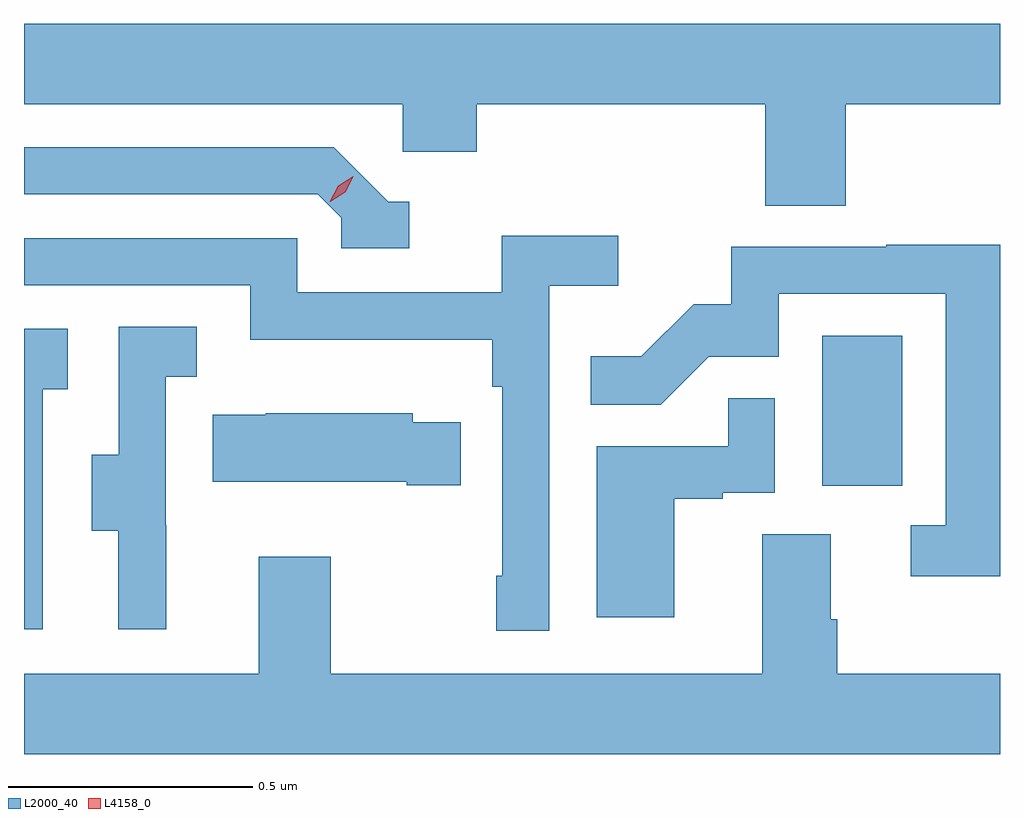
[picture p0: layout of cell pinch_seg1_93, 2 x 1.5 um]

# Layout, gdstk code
import gdstk
lib = gdstk.Library(unit=1e-6, precision=1e-09)
def R(c, l, rs):  # rectangles x0, y0, x1, y1
    for r in rs: c.add(gdstk.rectangle(r[:2], r[2:], *l))
def P(c, l, *ps):  # polygons
    for p in ps: c.add(gdstk.Polygon(p, *l))
L2000_40 = (2000, 40)
L4158_0 = (4158, 0)

pinch_seg1_93 = lib.new_cell('pinch_seg1_93')
R(pinch_seg1_93, L2000_40, [(1050.92,561.606,1051.084,561.913)])
P(pinch_seg1_93, L2000_40, [(1050.968,562.388),(1051.284,562.388),(1051.284,562.552),(1049.284,562.552),(1049.284,562.388),(1050.06,562.388),(1050.06,562.29),(1050.212,562.29),(1050.212,562.388),(1050.803,562.388),(1050.803,562.18),(1050.968,562.18)],
  [(1050.073,562.188),(1050.03,562.188),(1049.919,562.299),(1049.284,562.299),(1049.284,562.203),(1049.886,562.203),(1049.934,562.155),(1049.934,562.092),(1050.073,562.092)],
  [(1050.36,562.016),(1050.502,562.016),(1050.502,562.118),(1050.263,562.118),(1050.263,562.002),(1049.844,562.002),(1049.844,562.113),(1049.284,562.113),(1049.284,562.017),(1049.748,562.017),(1049.748,561.905),(1050.244,561.905),(1050.244,561.809),(1050.264,561.809),(1050.264,561.421),(1050.252,561.421),(1050.252,561.309),(1050.36,561.309)],
  [(1051.284,562.1),(1051.051,562.1),(1051.051,562.095),(1050.733,562.095),(1050.733,561.978),(1050.656,561.978),(1050.549,561.871),(1050.445,561.871),(1050.445,561.772),(1050.589,561.772),(1050.687,561.87),(1050.831,561.87),(1050.831,561.999),(1051.173,561.999),(1051.173,561.525),(1051.101,561.525),(1051.101,561.42),(1051.284,561.42)],
  [(1049.576,561.525),(1049.574,561.525),(1049.574,561.829),(1049.638,561.829),(1049.638,561.932),(1049.478,561.932),(1049.478,561.669),(1049.423,561.669),(1049.423,561.514),(1049.477,561.514),(1049.477,561.312),(1049.576,561.312)],
  [(1049.322,561.803),(1049.374,561.803),(1049.374,561.927),(1049.284,561.927),(1049.284,561.312),(1049.322,561.312)],
  [(1050.616,561.579),(1050.716,561.579),(1050.716,561.591),(1050.822,561.591),(1050.822,561.785),(1050.727,561.785),(1050.727,561.687),(1050.458,561.687),(1050.458,561.336),(1050.616,561.336)],
  [(1050.179,561.736),(1050.081,561.736),(1050.081,561.754),(1049.779,561.754),(1049.779,561.751),(1049.671,561.751),(1049.671,561.614),(1050.068,561.614),(1050.068,561.607),(1050.179,561.607)],
  [(1051.284,561.22),(1050.95,561.22),(1050.95,561.332),(1050.937,561.332),(1050.937,561.506),(1050.797,561.506),(1050.797,561.22),(1049.913,561.22),(1049.913,561.46),(1049.765,561.46),(1049.765,561.22),(1049.284,561.22),(1049.284,561.056),(1051.284,561.056)])
P(pinch_seg1_93, L4158_0, [(1049.911,562.188),(1049.911,562.188),(1049.928,562.22),(1049.959,562.24),(1049.959,562.24),(1049.959,562.239),(1049.942,562.207),(1049.912,562.188)])

lib.write_gds('pinch_seg1_93.gds')
